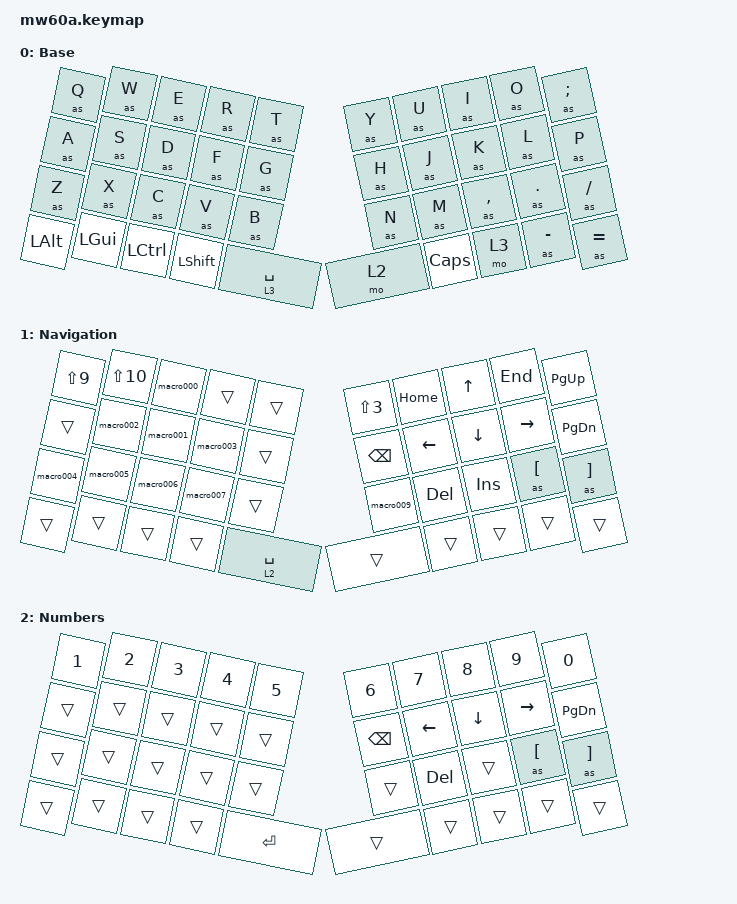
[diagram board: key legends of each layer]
// 이 .keymap 파일은 MW60A 키보드 펌웨어의 일부임


#include <behaviors.dtsi>
#include <dt-bindings/zmk/keys.h>
#include <dt-bindings/zmk/bt.h>
#include <dt-bindings/zmk/ext_power.h>

// #define STRINGIFY(x) #x
// #define EXPAND_AND_STRINGIFY(x) STRINGIFY(x)
// #define MACRO(NAME, BINDINGS) 

// #include <dt-bindings/zmk/pointing.h>
// #define ZMK_POINTING_DEFAULT_MOVE_VAL 600  // default: 600
// #define ZMK_POINTING_DEFAULT_SCRL_VAL 50    // default: 10
// #includeのあとのあたりにスクロール量変更の定義を追記
// #define ZMK_POINTING_DEFAULT_SCRL_VAL 500
// 80 에서 200 -> 500 으로 늘렸음. 스크롤이 너무 느렸음.
// 효과가 있다. 아직도 좀 느리긴 하지만.


// Autoshift Macro
// #define AS(keycode) &as LS(keycode) keycode     
// 위 오토시프트 매크로는 대문자가 된 후에도 연속으로 눌린 상태여서 사용하기 불편함.

/{

behaviors {
    as_ht: autoshift_hold_tap {
      compatible = "zmk,behavior-hold-tap";
      label = "AUTOSHIFT_HOLD_TAP";
      #binding-cells = <2>;
      tapping-term-ms = <175>;
      bindings = <&shifted>, <&kp>;
    };
  };


// Layer-Tap 을 위한 lt 정의 
    behaviors {
        lt: layer_tap {
            compatible = "zmk,behavior-hold-tap";
            #binding-cells = <2>;
            flavor = "tap-preferred";
            tapping-term-ms = <200>;
            bindings = <&mo>, <&kp>;
            display-name = "Layer-Tap";
        };
    };

// 오토시프트를 위한 매크로 정의. 키맵에서 &as Q 형태로 사용 가능
macros {

shifted: macro_shifted_kp {
      #binding-cells = <1>;
      label = "MACRO_SHIFTED_KP";
      compatible = "zmk,behavior-macro-one-param";
      bindings =
        <&macro_press &kp LSHFT>,
        <&macro_param_1to1 &macro_tap &kp MACRO_PLACEHOLDER>,
        <&macro_release &kp LSHFT>;
    };

as: autoshift {
      compatible = "zmk,behavior-macro-one-param";
      #binding-cells = <1>;
      label = "AUTOSHIFT_KP";
      bindings =
        <&macro_press>,
        <&macro_param_1to1>,
        <&macro_param_1to2>,
        <&as_ht MACRO_PLACEHOLDER MACRO_PLACEHOLDER>,
        <&macro_pause_for_release>,
        <&macro_release>,
        <&macro_param_1to1>,
        <&macro_param_1to2>,
        <&as_ht MACRO_PLACEHOLDER MACRO_PLACEHOLDER>;
    };


// 일반 매크로 정의.

// 현재 줄 위로 이동
macro000: macro000 {
            compatible = "zmk,behavior-macro";
            #binding-cells = <0>;
            wait-ms = <20>;
            tap-ms = <10>;
            bindings =
                <&macro_press &kp LSHFT>,
                <&macro_press &kp LCTRL>,
                <&macro_tap &kp UP>,
                <&macro_release &kp LCTRL>,
                <&macro_release &kp LSHFT>;
        };


// 현재 줄 아래로 이동
macro001: macro001 {
            compatible = "zmk,behavior-macro";
            #binding-cells = <0>;
            wait-ms = <20>;
            tap-ms = <10>;
            bindings =
                <&macro_press &kp LSHFT>,
                <&macro_press &kp LCTRL>,
                <&macro_tap &kp DOWN>,
                <&macro_release &kp LCTRL>,
                <&macro_release &kp LSHFT>;
        };


// 윈도우 데스크탑 감소
macro002: macro002 {
            compatible = "zmk,behavior-macro";
            #binding-cells = <0>;
            wait-ms = <20>;
            tap-ms = <10>;
            bindings =
                <&macro_press &kp LGUI>,
                <&macro_press &kp LCTRL>,
                <&macro_tap &kp LEFT>,
                <&macro_release &kp LCTRL>,
                <&macro_release &kp LGUI>;
        };

// 윈도우 데스크탑 증가
macro003: macro003 {
            compatible = "zmk,behavior-macro";
            #binding-cells = <0>;
            wait-ms = <20>;
            tap-ms = <10>;
            bindings =
                <&macro_press &kp LGUI>,
                <&macro_press &kp LCTRL>,
                <&macro_tap &kp RIGHT>,
                <&macro_release &kp LCTRL>,
                <&macro_release &kp LGUI>;
        };



// ZZZ 우측 썸클의 NAV 키를 CTRL 대신 사용하는 매크로
macro004: macro004 {
            compatible = "zmk,behavior-macro";
            #binding-cells = <0>;
            wait-ms = <20>;
            tap-ms = <10>;
            bindings =
                <&macro_press &kp LCTRL>,
                <&macro_tap &kp Z>,
                <&macro_release &kp LCTRL>;
        };


// XXX 우측 썸클의 NAV 키를 CTRL 대신 사용하는 매크로
macro005: macro005 {
            compatible = "zmk,behavior-macro";
            #binding-cells = <0>;
            wait-ms = <20>;
            tap-ms = <10>;
            bindings =
                <&macro_press &kp LCTRL>,
                <&macro_tap &kp X>,
                <&macro_release &kp LCTRL>;
        };


// CCC 우측 썸클의 NAV 키를 CTRL 대신 사용하는 매크로
macro006: macro006 {
            compatible = "zmk,behavior-macro";
            #binding-cells = <0>;
            wait-ms = <20>;
            tap-ms = <10>;
            bindings =
                <&macro_press &kp LCTRL>,
                <&macro_tap &kp C>,
                <&macro_release &kp LCTRL>;
        };



// VVV 우측 썸클의 NAV 키를 CTRL 대신 사용하는 매크로
macro007: macro007 {
            compatible = "zmk,behavior-macro";
            #binding-cells = <0>;
            wait-ms = <20>;
            tap-ms = <10>;
            bindings =
                <&macro_press &kp LCTRL>,
                <&macro_tap &kp V>,
                <&macro_release &kp LCTRL>;
        };



// YYY 우측 썸클의 NAV 키를 CTRL 대신 사용하는 매크로
macro008: macro008 {
            compatible = "zmk,behavior-macro";
            #binding-cells = <0>;
            wait-ms = <20>;
            tap-ms = <10>;
            bindings =
                <&macro_press &kp LCTRL>,
                <&macro_tap &kp Y>,
                <&macro_release &kp LCTRL>;
        };



// DDD 우측 썸클의 NAV 키를 CTRL 대신 사용하는 매크로
macro009: macro009 {
            compatible = "zmk,behavior-macro";
            #binding-cells = <0>;
            wait-ms = <20>;
            tap-ms = <10>;
            bindings =
                <&macro_press &kp LCTRL>,
                <&macro_tap &kp D>,
                <&macro_release &kp LCTRL>;
        };
  };

/*
// 엔코더 정의 예시. 필요에 따라 선택하여 사용.
behaviors {
       encoder_msc_down_up: encoder_msc_down_up {
           compatible = "zmk,behavior-sensor-rotate";
           label = "ENCODER_MSC_DOWN_UP";
           #sensor-binding-cells = <0>;
           bindings = <&msc SCRL_DOWN>, <&msc SCRL_UP>;
           tap-ms = <20>;
       };
};

behaviors {
       encoder_msc_down_up: encoder_msc_down_up {
           compatible = "zmk,behavior-sensor-rotate-var";
           label = "ENCODER_MSC_DOWN_UP";
           #sensor-binding-cells = <2>;
           bindings = <&msc>, <&msc>;
           tap-ms = <20>;
       };
};

*/



// 시작 키는 0번(Q에 해당)으로 할당됨
combos {
        compatible = "zmk,combos";
        combo_esc {
            timeout-ms = <50>;
            key-positions = <1 2>;    	// 'W' 키와 'E' 키의 물리적 위치 번호
            bindings = <&kp ESC>;       // 발동될 키
            layers = <0>;               // 0번(기본) 레이어에서만 작동
        };
        
        combo_enter {
            timeout-ms = <100>;
            key-positions = <17 18>;    // 'K' 키와 'L' 키의 위치 번호
            bindings = <&kp ENTER>;     // Enter 발동
            layers = <0>;               // 0번(기본) 레이어에서만 작동
        };

        combo_backspace {
            timeout-ms = <100>;
            key-positions = <16 17>;    // 'L' 키와 'K' 키의 위치 번호
            bindings = <&kp BSPC>;      // BACK SPACE 발동
            layers = <0>;               // 0번(기본) 레이어에서만 작동
        };


        combo_sqt {
            timeout-ms = <100>;
            key-positions = <7 8>;    	// 'i' 키와 'o' 키의 위치 번호
            bindings = <&as SQT>;      	// 오토시프트+SINGLE_QUOTE 발동 (APOS/APOSTROPHE 가능)
            layers = <0>;               // 0번(기본) 레이어에서만 작동
        };

        combo_minus {
            timeout-ms = <100>;
            key-positions = <6 7>; 	   	// 'u' 키와 'i' 키의 위치 번호
            bindings = <&as MINUS>;     // MINUS 발동
            layers = <0>;               // 0번(기본) 레이어에서만 작동
        };

        combo_delete {
            timeout-ms = <100>;
            key-positions = <25 26>;    // 'm' 키와 'm' 키의 위치 번호
            bindings = <&kp DELETE>;    //  delete 발동
            layers = <0>;               // 0번(기본) 레이어에서만 작동
        };

        combo_exc{
            timeout-ms = <100>;
            key-positions = <27 28>;    // '<' 키와 '>' 키의 위치 번호
            bindings = <&kp LS(1)>;     //  느낌표(exclamation mark) 발동   QMK의 LSFT(KC_1)= &kp LS(A)
            layers = <0>;               // 0번(기본) 레이어에서만 작동
        };

        combo_grave{
            timeout-ms = <100>;
            key-positions = <0 1>;		// 'q' 키와 'w' 키의 위치 번호
            bindings = <&as GRAVE>;     // 오토시프트+` GRAVE 발동
            layers = <0>;               // 0번(기본) 레이어에서만 작동
        };

        combo_caps{
            timeout-ms = <100>;
            key-positions = <10 11>;   		// 'a' 키와 's' 키의 위치 번호
            bindings = <&kp CAPSLOCK>;      // 오토시프트+ tab  발동 
            layers = <0>;               	// 0번(기본) 레이어에서만 작동
        };

        combo_tab{
            timeout-ms = <100>;
            key-positions = <21 22>;    	// 'x' 키와 'c' 키의 위치 번호 
            bindings = <&as TAB>;      		// tab  발동 
            layers = <0>;               	// 0번(기본) 레이어에서만 작동
        };

        combo_layer1lock{
            timeout-ms = <100>;
            key-positions = <35 37>;    	// '스페이스' 키와 '레이어3' 키의 위치 번호 
            bindings = <&mo 2>;      		// Layer 1 고정.
            layers = <0>;               	// 0번(기본) 레이어에서만 작동
        };

        combo_layer0lock{
            timeout-ms = <100>;
            key-positions = <35 37>;    	// '스페이스' 키와 '레이어3' 키의 위치 번호 
            bindings = <&mo 1>;      		// Layer 0 고정. 
            layers = <1>;               	// 1번(기본) 레이어에서만 작동. 누를 때 마다 토글되도록.
        };

        combo_poweroff{
//        combo_powertoggle{
            timeout-ms = <100>;
            key-positions = <4 5>;    	// 'T' 키와 'Y' 키의 위치 번호 
            bindings = <&ext_power EXT_POWER_OFF_CMD>;      		//   전원을 끈다
//            bindings = <&ext_power EP_TOG>;      		//   EP_TOG: 전원을 토글(켜져 있으면 끄고, 꺼져 있으면 켭니다).
//            layers = <0>;               	// 0번(기본) 레이어에서만 작동
        };
        combo_poweron{
            timeout-ms = <100>;
            key-positions = <5 6>;    	// 'Y' 키와 'U' 키의 위치 번호 
            bindings = <&ext_power EXT_POWER_ON_CMD>;      		//   전원을 켠다.
//            layers = <0>;               	// 0번(기본) 레이어에서만 작동
        };
    };





keymap {
    compatible = "zmk,keymap";
    
    // 0번 레이어    MO 1
    default_layer {
        display-name = "Base";
        bindings = <
// ╭───────────────┬────────────────┬───────────────┬───────────────┬─────────────╮      ╭───────────────┬───────────────┬───────────────┬─────────────────┬──────────────────╮
     &as Q           &as W            	&as E           &as R            &as T   	          	&as Y       &as U           &as I           &as O 			&as SEMICOLON
// ├───────────────┼────────────────┼───────────────┼───────────────┼─────────────┤      ├───────────────┼───────────────┼───────────────┼─────────────────┼──────────────────┤
     &as A           &as S            	&as D           &as F            &as G       	    	&as H       &as J           &as K           &as L			&as P
// ├───────────────┼────────────────┼───────────────┼───────────────┼─────────────┤      ├───────────────┼───────────────┼───────────────┼─────────────────┼──────────────────┤
     &as Z           &as X            	&as C           &as V            &as B        			&as N		&as M			&as COMMA  		&as DOT			&as SLASH
// ├───────────────┼────────────────┼───────────────┼───────────────┼────────────────┬───────────────────┼───────────────┼───────────────┼─────────────────┼──────────────────┤
     &kp LEFT_ALT    &kp LEFT_GUI 		&kp LCTRL       &kp LSHFT       &lt 3 SPACE    	    	&mo 2		&kp CAPS        &mo 3			&as MINUS 		&as EQUAL
// ╰───────────────┴────────────────┴───────────────┴───────────────┴────────────────┴───────────────────┴───────────────┴───────────────┴─────────────────┴──────────────────╯
        >;
        /* 엔코더 정의 */ 
//        sensor-bindings = <
// 테스트를 위해.             &encoder_msc_down_up SCRL_DOWN  SCRL_UP  &inc_dec_kp C_VOL_UP C_VOL_DN
//              &inc_dec_kp C_VOL_UP C_VOL_DN  &inc_dec_kp C_VOL_UP C_VOL_DN
//        >;
};


    // 1번 레이어   MO 2     
        adjust_layer {
            display-name = "Navigation";
            bindings = <
// ╭───────────────┬────────────────┬───────────────┬───────────────┬─────────────╮      ╭───────────────┬───────────────┬───────────────┬─────────────────┬──────────────────╮
        &kp LS(9)		&kp LS(10)		&macro000		&trans  		&trans				&kp LS(3)		&kp HOME  		&kp UP     		&kp END    		&kp PG_UP
// ├───────────────┼────────────────┼───────────────┼───────────────┼─────────────┤      ├───────────────┼───────────────┼───────────────┼─────────────────┼──────────────────┤
        &trans        	&macro002  		&macro001		&macro003  		&trans         		&kp BSPC        &kp LEFT    	&kp DOWN        &kp RIGHT		&kp PG_DN      
// ├───────────────┼────────────────┼───────────────┼───────────────┼─────────────┤      ├───────────────┼───────────────┼───────────────┼─────────────────┼──────────────────┤
        &macro004		&macro005		&macro006		&macro007		&trans      	   	&macro009		&kp DEL     	&kp INSERT 	    &as LEFT_BRACKET &as RIGHT_BRACKET
// ├───────────────┼────────────────┼───────────────┼───────────────┼────────────────┬───────────────────┼───────────────┼───────────────┼─────────────────┼──────────────────┤
        &trans			&trans			&trans			&trans			&lt 2 SPACE			&trans        	&trans      	&trans			&trans			&trans
// ╰───────────────┴────────────────┴───────────────┴───────────────┴────────────────┴───────────────────┴───────────────┴───────────────┴─────────────────┴──────────────────╯
            >;
        /* 엔코더 정의 */
//            sensor-bindings = <
//                  &encoder_msc_down_up SCRL_LEFT  SCRL_RIGHT    &inc_dec_kp C_VOL_UP C_VOL_DN
//            >;
};


        // 2번 레이어   MO 3     
        number_layer {
            display-name = "Numbers";
            bindings = <
// ╭───────────────┬────────────────┬───────────────┬───────────────┬─────────────╮      ╭───────────────┬───────────────┬───────────────┬─────────────────┬──────────────────╮
        &kp N1           &kp N2         &kp N3          &kp N4           &kp N5				&kp N6          &kp N7          &kp N8          &kp N9          &kp N0
// ├───────────────┼────────────────┼───────────────┼───────────────┼─────────────┤      ├───────────────┼───────────────┼───────────────┼─────────────────┼──────────────────┤
        &trans           &trans         &trans          &trans           &trans         	&kp BSPC        &kp LEFT    	&kp DOWN        &kp RIGHT		&kp PG_DN      
// ├───────────────┼────────────────┼───────────────┼───────────────┼─────────────┤      ├───────────────┼───────────────┼───────────────┼─────────────────┼──────────────────┤
        &trans           &trans         &trans          &trans           &trans         	&trans       	&kp DEL     	&trans   		&as LEFT_BRACKET &as RIGHT_BRACKET
// ├───────────────┼────────────────┼───────────────┼───────────────┼────────────────┬───────────────────┼───────────────┼───────────────┼─────────────────┼──────────────────┤
        &trans           &trans         &trans          &trans           &kp ENTER      	&trans        	&trans      	&trans  		&trans			&trans
// ╰───────────────┴────────────────┴───────────────┴───────────────┴────────────────┴───────────────────┴───────────────┴───────────────┴─────────────────┴──────────────────╯       
            >;


        // 3번 레이어        
        function_layer {
            display-name = "Function";
            bindings = <
// ╭───────────────┬────────────────┬───────────────┬───────────────┬─────────────╮      ╭───────────────┬───────────────┬───────────────┬─────────────────┬──────────────────╮
        &kp F1           &kp F2         &kp F3          &kp F4           &kp F5				&kp F6          &kp F7          &kp F8          &kp F9          &kp F10
// ├───────────────┼────────────────┼───────────────┼───────────────┼─────────────┤      ├───────────────┼───────────────┼───────────────┼─────────────────┼──────────────────┤
        &trans           &trans         &trans          &trans           &trans         	&trans           &trans         &trans          &trans           &trans
// ├───────────────┼────────────────┼───────────────┼───────────────┼─────────────┤      ├───────────────┼───────────────┼───────────────┼─────────────────┼──────────────────┤
        &trans           &trans         &trans          &trans           &trans         	&trans           &trans         &trans          &trans           &trans
// ├───────────────┼────────────────┼───────────────┼───────────────┼────────────────┬───────────────────┼───────────────┼───────────────┼─────────────────┼──────────────────┤
        &trans           &trans         &trans          &trans           &trans     		&trans        	&trans      	&trans  		&kp F11			&kp F12
// ╰───────────────┴────────────────┴───────────────┴───────────────┴────────────────┴───────────────────┴───────────────┴───────────────┴─────────────────┴──────────────────╯             
            >;


};

        extra1 {
            status = "reserved";
        };
        extra2 {
            status = "reserved";    
        };
        extra3 {
            status = "reserved";    
        };
        extra4 {
            status = "reserved";    
        };
        extra5 {
            status = "reserved";    
        };
        extra6 {
            status = "reserved";    
        };
        extra7 {
            status = "reserved";    
        };        

    };
};
};
